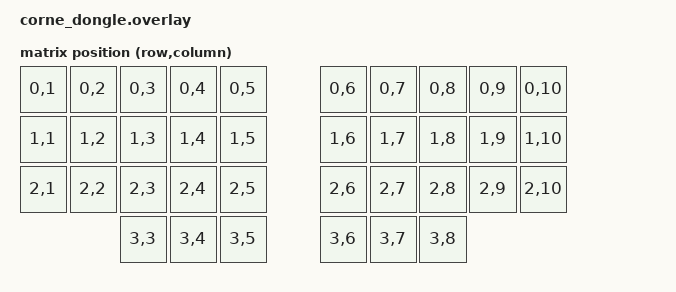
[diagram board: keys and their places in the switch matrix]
#include "corne.dtsi"
#include <dt-bindings/xiaord/input_codes.h>
#include <dt-bindings/zmk/keys.h>
#include <dt-bindings/zmk/outputs.h>

&kscan0 { status = "disabled"; };
/ { chosen { zmk,kscan = &xiaord_mock_kscan; }; 

    five_column_transform: keymap_transform_1 {
        compatible = "zmk,matrix-transform";
        columns = <10>;
        rows = <4>;
// | SW2  | SW3  | SW4  | SW5  | SW6  |   | SW6  | SW5  | SW4  | SW3  | SW2  |
// | SW8  | SW9  | SW10 | SW11 | SW12 |   | SW12 | SW11 | SW10 | SW9  | SW8  |
// | SW14 | SW15 | SW16 | SW17 | SW18 |   | SW18 | SW17 | SW16 | SW15 | SW14 |
//               | SW19 | SW20 | SW21 |   | SW21 | SW20 | SW19 |
        map = <
RC(0,1) RC(0,2) RC(0,3) RC(0,4) RC(0,5)  RC(0,6) RC(0,7) RC(0,8) RC(0,9) RC(0,10)
RC(1,1) RC(1,2) RC(1,3) RC(1,4) RC(1,5)  RC(1,6) RC(1,7) RC(1,8) RC(1,9) RC(1,10)
RC(2,1) RC(2,2) RC(2,3) RC(2,4) RC(2,5)  RC(2,6) RC(2,7) RC(2,8) RC(2,9) RC(2,10)
                        RC(3,3) RC(3,4) RC(3,5)  RC(3,6) RC(3,7) RC(3,8)
        >;
    };};

// Change the icon at position 1 to show a keyboard symbol.
&home_button_1 { code = <INPUT_VIRTUAL_SYM_KEYBOARD>; };

// Update virtual_symbol_behavior to map the new icon to a behavior.
// You must rewrite the entire codes/bindings table — DTS does not support
// partial array overrides, so all entries must be listed.
&virtual_symbol_behavior {
    codes = <
        INPUT_VIRTUAL_SYM_UPLOAD
        INPUT_VIRTUAL_SYM_KEYBOARD      /* replaces IMAGE at position 1 */
        INPUT_VIRTUAL_SYM_VOLUME_MAX
        /* ... all other codes you want to handle ... */
    >;
    bindings = <
        &bootloader
        &kp CAPSLOCK                    /* new binding for KEYBOARD icon */
        &kp C_VOL_UP
        /* ... matching bindings for each code above ... */
    >;
};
